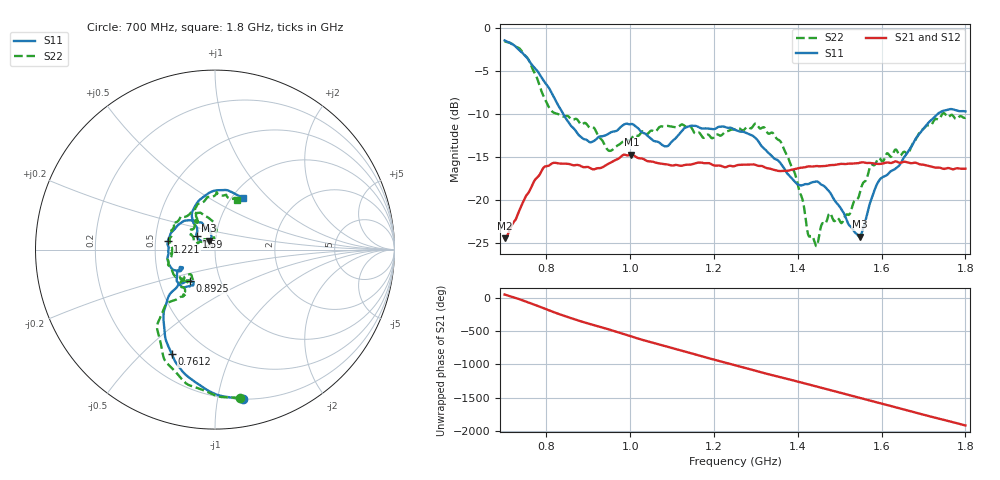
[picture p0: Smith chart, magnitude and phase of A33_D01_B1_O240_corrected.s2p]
! Created with skrf 1.9.0 (http://scikit-rf.org).
# Hz S RI R 50.0
!freq ReS11 ImS11 ReS21 ImS21 ReS12 ImS12 ReS22 ImS22
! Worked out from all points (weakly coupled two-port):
!   1601 points, 700 MHz to 1.8 GHz, reference 50 ohm
!   highest |S21| = -14.74 dB at 1.002 GHz (marker M1); lowest = -24.5 dB at 700.7 MHz (marker M2)
!   lowest |S11| = -24.3 dB at 1.548 GHz (marker M3), VSWR 1.13, Z = 46.3 + j4.59 ohm
!   |S11| at or under -10 dB: 839.9 MHz to 1.734 GHz (893.8 MHz wide, 69.5 % of centre)
!   |S22| runs from -25.4 to -1.5 dB; largest |S21 - S12| = 0.0037
!   S11 on the Smith chart (normalised r, x): 700 MHz: 0.20, -1.19; 761.2 MHz: 0.32, -0.62; 892.5 MHz: 0.71, -0.26; 1.221 GHz: 0.58, +0.06; 1.59 GHz: 0.81, +0.12; 1.8 GHz: 1.12, +0.72
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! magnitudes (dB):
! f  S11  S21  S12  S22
! 700 MHz  -1.4  -24.5  -24.2  -1.5
! 700.7 MHz  -1.5  -24.5  -24.2  -1.5
! 761.2 MHz  -4.0  -18.8  -18.7  -4.1
! 810.7 MHz  -7.4  -15.8  -15.8  -9.6
! 883.6 MHz  -12.7  -16.1  -16.0  -11.2
! 892.5 MHz  -13.0  -16.2  -16.3  -11.1
! 949.6 MHz  -12.2  -15.8  -15.8  -14.3
! 1.002 GHz  -11.2  -14.7  -14.8  -12.9
! 1.067 GHz  -13.3  -15.7  -15.7  -11.6
! 1.221 GHz  -11.5  -16.1  -16.2  -12.3
! 1.25 GHz  -11.8  -16.1  -16.0  -11.8
! 1.359 GHz  -15.7  -16.6  -16.6  -13.2
! 1.434 GHz  -18.0  -16.1  -16.1  -24.2
! 1.445 GHz  -17.8  -16.1  -16.1  -25.4
! 1.476 GHz  -19.1  -16.0  -16.0  -21.5
! 1.506 GHz  -21.3  -15.8  -15.8  -22.6
! 1.548 GHz  -24.3  -15.7  -15.7  -19.3
! 1.59 GHz  -18.0  -15.8  -15.8  -15.3
! 1.617 GHz  -16.9  -15.7  -15.6  -14.7
! 1.663 GHz  -14.4  -15.7  -15.7  -14.6
! 1.735 GHz  -9.9  -16.2  -16.3  -10.6
! 1.8 GHz  -9.7  -16.4  -16.4  -10.4
